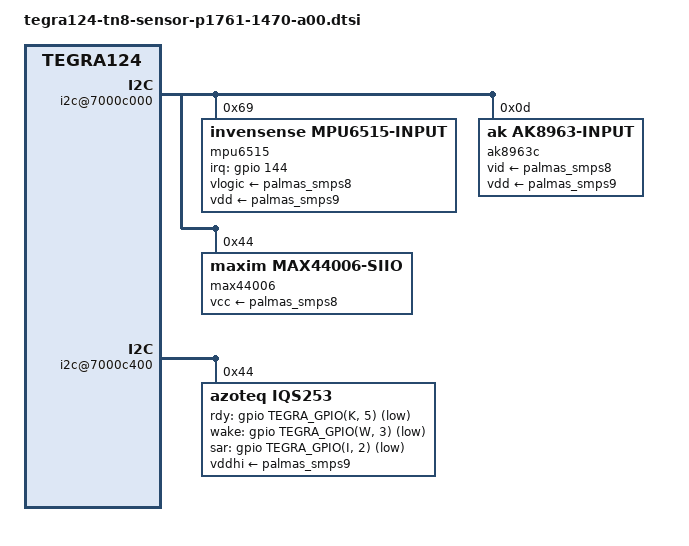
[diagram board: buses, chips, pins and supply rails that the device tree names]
/* Copyright (c) 2015, NVIDIA CORPORATION.  All rights reserved.
 *
 * This program is free software; you can redistribute it and/or modify
 * it under the terms of the GNU General Public License as published by
 * the Free Software Foundation; either version 2 of the License, or
 * (at your option) any later version.
 *
 * This program is distributed in the hope that it will be useful, but WITHOUT
 * ANY WARRANTY; without even the implied warranty of MERCHANTABILITY or
 * FITNESS FOR A PARTICULAR PURPOSE.  See the GNU General Public License for
 * more details.
 *
 * You should have received a copy of the GNU General Public License along
 * with this program; if not, write to the Free Software Foundation, Inc.,
 * 51 Franklin Street, Fifth Floor, Boston, MA  02110-1301, USA.
 */

#include <dt-bindings/gpio/tegra-gpio.h>

/ {
	i2c@7000c000 {
		mpu6515@69 {
			compatible = "invensense,mpu6515-input";
			reg = <0x69>;
			interrupt-parent = <&gpio>;
			interrupts = <144 0x01>;
			invensense,int_config = <0x10>;
			invensense,level_shifter = <0>;
			invensense,orientation = [ff 00 00 00 01 00 00 00 ff];
			accelerometer_matrix = [ff 00 00 00 01 00 00 00 ff];
			gyroscope_matrix = [ff 00 00 00 01 00 00 00 ff];
			invensense,sec_slave_type = <0>;
			invensense,key = [4e cc 7e eb f6 1e 35 22
					  00 34 0d 65 32 e9 94 89];
			vlogic-supply = <&palmas_smps8>;
			vdd-supply = <&palmas_smps9>;
		};

		ak8963c@0d {
			compatible = "ak,ak8963-input";
			reg = <0x0d>;
			orientation = [ff 00 00 00 01 00 00 00 ff];
			magnetic_field_matrix = [ff 00 00 00 01 00 00 00 ff];
			config = "mpu";
			vid-supply = <&palmas_smps8>;
			vdd-supply = <&palmas_smps9>;
		};

		max44006@44 {
			compatible = "maxim,max44006-siio";
			reg = <0x44>;
			vcc-supply = <&palmas_smps8>;
		};
	};

	i2c@7000c400 {
		status = "okay";

		iqs253@44 {
			compatible = "azoteq,iqs253";
			reg = <0x44>;
			vddhi-supply = <&palmas_smps9>;
			vendor = "Azoteq";
			proximity,max-range = "2"; /* 2 cm */
			proximity,integration-time = "16000000"; /* 16 msec */
			proximity,power-consumed = "1.67"; /* approx mA */
			rdy-gpio = <&gpio TEGRA_GPIO(K, 5) GPIO_ACTIVE_LOW>;
			wake-gpio = <&gpio TEGRA_GPIO(W, 3) GPIO_ACTIVE_LOW>;
			sar-gpio = <&gpio TEGRA_GPIO(I, 2) GPIO_ACTIVE_LOW>;
		};
	};
};
